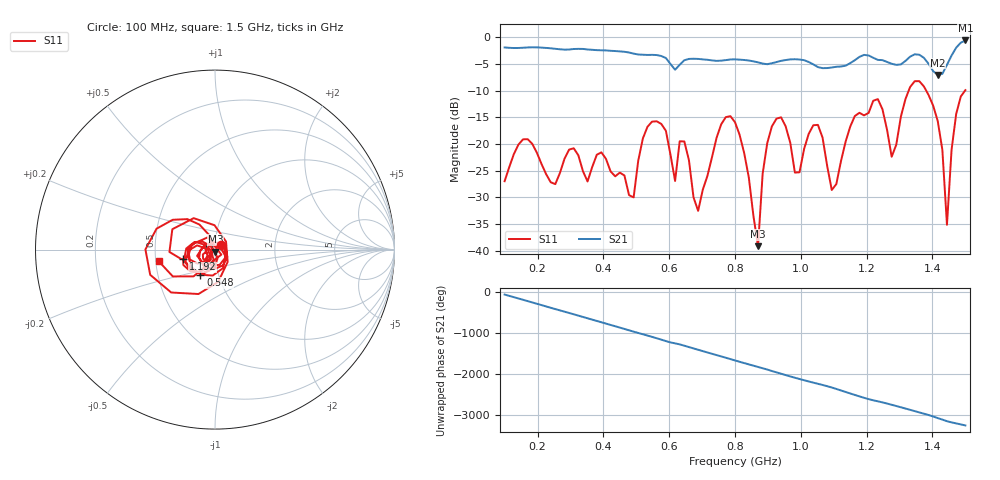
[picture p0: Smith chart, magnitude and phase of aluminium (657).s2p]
! NanoVNA-App
! Date: 2025-09-25 15:00:23
! Start: 100MHz Stop: 1,5GHz Points: 101
! S-Parameter data: F S11 S21 S12 S22
# Hz S RI R 50
!  Frequency  S11_Real  S11_Imag  S21_Real  S21_Imag  S12_Real  S12_Imag  S22_Real  S22_Imag
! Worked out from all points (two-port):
!   101 points, 100 MHz to 1.5 GHz, reference 50 ohm
!   highest |S21| = -0.61 dB at 1.5 GHz (marker M1); lowest = -7.1 dB at 1.416 GHz (marker M2)
!   |S21| within 3 dB of the highest: start of sweep to 579.4 MHz; 1.457 GHz to end of sweep (the widest 2 of 4)
!   lowest |S11| = -39.1 dB at 870 MHz (marker M3), VSWR 1.02, Z = 50.2 - j1.09 ohm
!   |S11| at or under -10 dB: start of sweep to 1.328 GHz; 1.381 GHz to 1.499 GHz (118.1 MHz wide, 8.2 % of centre)
!   S12 and S22 are empty: the file has one direction only
!   S11 on the Smith chart (normalised r, x): 100 MHz: 1.07, +0.06; 548 MHz: 0.82, -0.24; 1.192 GHz: 0.69, -0.08; 1.5 GHz: 0.52, -0.08
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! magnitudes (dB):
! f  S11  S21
! 100 MHz  -27.0  -1.9
! 156 MHz  -19.1  -2.0
! 338 MHz  -25.1  -2.2
! 492 MHz  -30.0  -3.1
! 548 MHz  -15.8  -3.3
! 576 MHz  -16.2  -3.5
! 646 MHz  -19.5  -4.3
! 688 MHz  -32.5  -4.1
! 800 MHz  -15.9  -4.2
! 870 MHz  -39.1  -4.7
! 912 MHz  -16.7  -4.9
! 982 MHz  -25.3  -4.1
! 1.038 GHz  -16.5  -5.1
! 1.094 GHz  -28.6  -5.7
! 1.192 GHz  -14.6  -3.3
! 1.234 GHz  -11.6  -4.3
! 1.276 GHz  -22.4  -5.0
! 1.346 GHz  -8.2  -3.2
! 1.416 GHz  -15.7  -7.1
! 1.444 GHz  -35.1  -5.2
! 1.472 GHz  -14.4  -2.0
! 1.5 GHz  -9.9  -0.6
